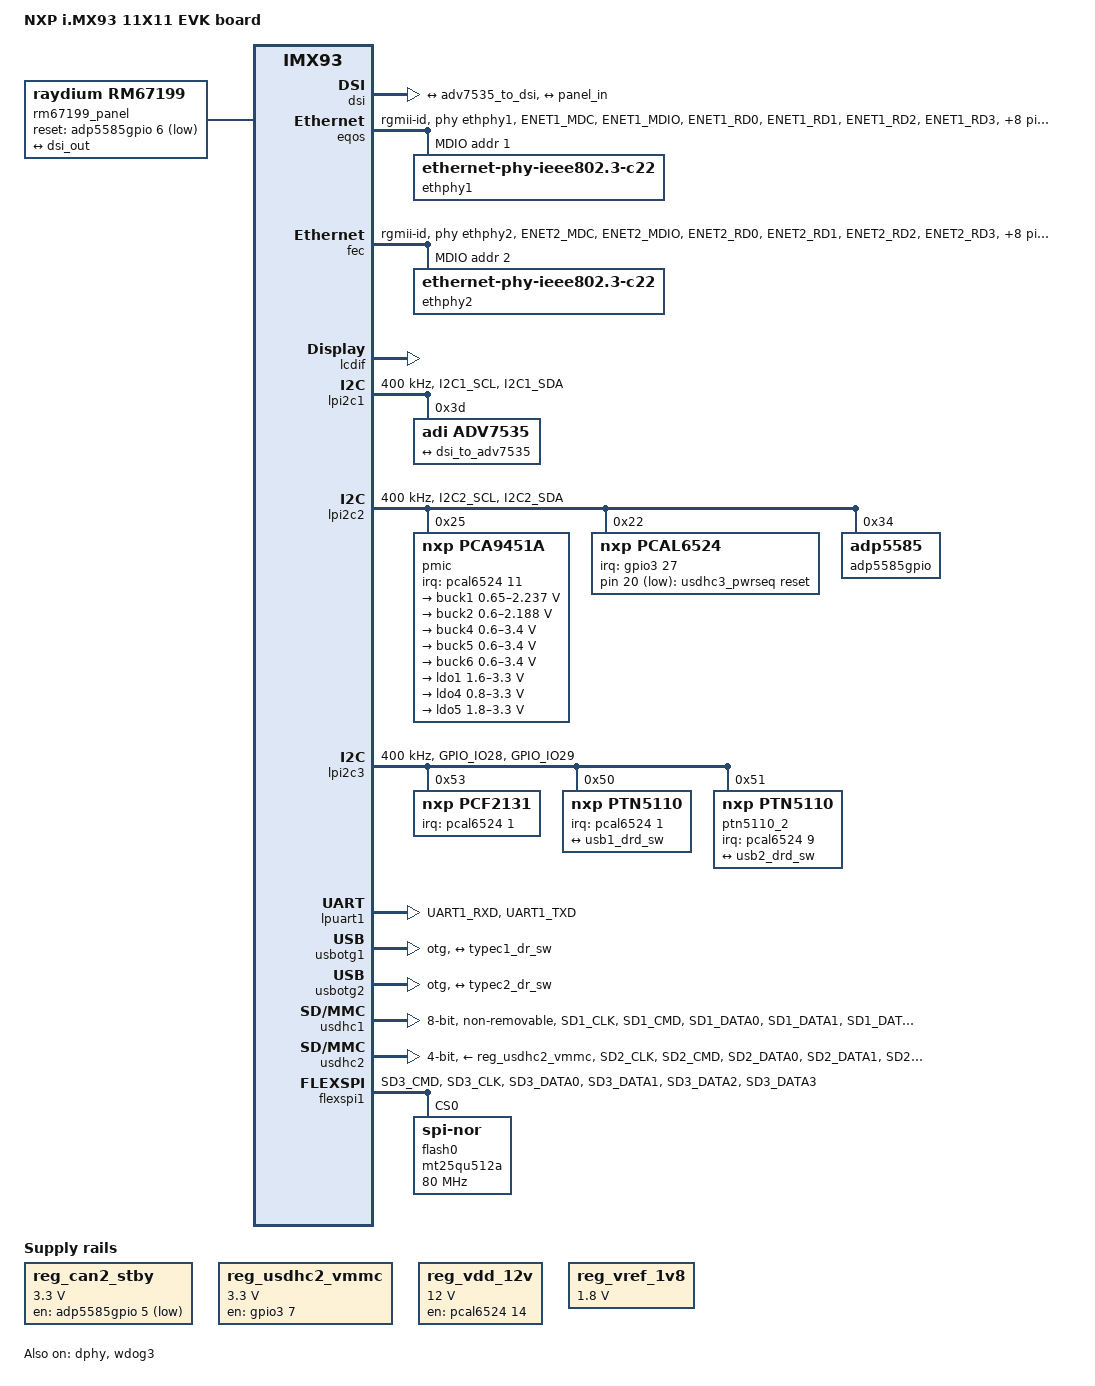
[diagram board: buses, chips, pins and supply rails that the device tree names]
// SPDX-License-Identifier: (GPL-2.0+ OR MIT)
/*
 * Copyright 2022 NXP
 */

/dts-v1/;

#include "imx93.dtsi"

/ {
	model = "NXP i.MX93 11X11 EVK board";
	compatible = "fsl,imx93-11x11-evk", "fsl,imx93";

	chosen {
		bootargs = "console=ttyLP0,115200";
		stdout-path = &lpuart1;
	};

	reserved-memory {
		#address-cells = <2>;
		#size-cells = <2>;
		ranges;

		linux,cma {
			compatible = "shared-dma-pool";
			reusable;
			alloc-ranges = <0 0x80000000 0 0x40000000>;
			size = <0 0x10000000>;
			linux,cma-default;
		};
	};

	reg_can2_stby: regulator-can2-stby {
		compatible = "regulator-fixed";
		regulator-name = "can2-stby";
		regulator-min-microvolt = <3300000>;
		regulator-max-microvolt = <3300000>;
		gpio = <&adp5585gpio 5 GPIO_ACTIVE_LOW>;
		enable-active-low;
	};

	reg_usdhc2_vmmc: regulator-usdhc2 {
		compatible = "regulator-fixed";
		pinctrl-names = "default";
		pinctrl-0 = <&pinctrl_reg_usdhc2_vmmc>;
		regulator-name = "VSD_3V3";
		regulator-min-microvolt = <3300000>;
		regulator-max-microvolt = <3300000>;
		gpio = <&gpio3 7 GPIO_ACTIVE_HIGH>;
		off-on-delay-us = <12000>;
		enable-active-high;
	};

	reg_vdd_12v: regulator-vdd-12v {
		compatible = "regulator-fixed";
		regulator-name = "reg_vdd_12v";
		regulator-min-microvolt = <12000000>;
		regulator-max-microvolt = <12000000>;
		gpio = <&pcal6524 14 GPIO_ACTIVE_HIGH>;
		enable-active-high;
	};

	reg_vref_1v8: regulator-adc-vref {
		compatible = "regulator-fixed";
		regulator-name = "vref_1v8";
		regulator-min-microvolt = <1800000>;
		regulator-max-microvolt = <1800000>;
	};

	usdhc3_pwrseq: usdhc3_pwrseq {
		compatible = "mmc-pwrseq-simple";
		reset-gpios = <&pcal6524 20 GPIO_ACTIVE_LOW>;
	};

dsi_host: dsi-host {
		compatible = "synopsys,dw-mipi-dsi";
		status = "okay";
	};

	rm67199_panel {
		compatible = "raydium,rm67199";
		reset-gpio = <&adp5585gpio 6 GPIO_ACTIVE_LOW>;
		dsi-lanes = <4>;
		video-mode = <2>;	/* 0: burst mode
					 * 1: non-burst mode with sync event
					 * 2: non-burst mode with sync pulse
					 */
		width-mm = <68>;
		height-mm = <121>;
		status = "okay";

		port {
			panel_in: endpoint {
				remote-endpoint = <&dsi_out>;
			};
		};
	};
};

&dphy {
	status = "okay";
};

&dsi {
	status = "okay";

	ports {
		port@1 {
			dsi_to_adv7535: endpoint {
				remote-endpoint = <&adv7535_to_dsi>;
			};
		};

		port@2 {
			dsi_out: endpoint {
				remote-endpoint = <&panel_in>;
			};
		};
	};
};

&eqos {
	pinctrl-names = "default";
	pinctrl-0 = <&pinctrl_eqos>;
	phy-mode = "rgmii-id";
	phy-handle = <&ethphy1>;
	status = "okay";

	mdio {
		compatible = "snps,dwmac-mdio";
		#address-cells = <1>;
		#size-cells = <0>;
		clock-frequency = <5000000>;

		ethphy1: ethernet-phy@1 {
			compatible = "ethernet-phy-ieee802.3-c22";
			reg = <1>;
			eee-broken-1000t;
		};
	};
};

&fec {
	pinctrl-names = "default";
	pinctrl-0 = <&pinctrl_fec>;
	phy-mode = "rgmii-id";
	phy-handle = <&ethphy2>;
	fsl,magic-packet;
	status = "okay";

	mdio {
		#address-cells = <1>;
		#size-cells = <0>;
		clock-frequency = <5000000>;

		ethphy2: ethernet-phy@2 {
			compatible = "ethernet-phy-ieee802.3-c22";
			reg = <2>;
			eee-broken-1000t;
		};
	};
};

&lcdif {
	status = "okay";
	assigned-clock-rates = <484000000>, <121000000>, <400000000>, <133333333>;
};

&lpi2c1 {
	#address-cells = <1>;
	#size-cells = <0>;
	clock-frequency = <400000>;
	pinctrl-names = "default", "sleep";
	pinctrl-0 = <&pinctrl_lpi2c1>;
	pinctrl-1 = <&pinctrl_lpi2c1>;
	status = "okay";

	adv7535: hdmi@3d {
		compatible = "adi,adv7535";
		reg = <0x3d>;
		adi,addr-cec = <0x3c>;
		adi,dsi-lanes = <4>;
		status = "okay";

		port {
			adv7535_to_dsi: endpoint {
				remote-endpoint = <&dsi_to_adv7535>;
			};
		};
	};
};

&lpi2c2 {
	#address-cells = <1>;
	#size-cells = <0>;
	clock-frequency = <400000>;
	pinctrl-names = "default", "sleep";
	pinctrl-0 = <&pinctrl_lpi2c2>;
	pinctrl-1 = <&pinctrl_lpi2c2>;
	status = "okay";

	pmic@25 {
		compatible = "nxp,pca9451a";
		reg = <0x25>;
		interrupt-parent = <&pcal6524>;
		interrupts = <11 IRQ_TYPE_LEVEL_LOW>;

		regulators {
			buck1: BUCK1 {
				regulator-name = "BUCK1";
				regulator-min-microvolt = <650000>;
				regulator-max-microvolt = <2237500>;
				regulator-boot-on;
				regulator-always-on;
				regulator-ramp-delay = <3125>;
			};

			buck2: BUCK2 {
				regulator-name = "BUCK2";
				regulator-min-microvolt = <600000>;
				regulator-max-microvolt = <2187500>;
				regulator-boot-on;
				regulator-always-on;
				regulator-ramp-delay = <3125>;
			};

			buck4: BUCK4{
				regulator-name = "BUCK4";
				regulator-min-microvolt = <600000>;
				regulator-max-microvolt = <3400000>;
				regulator-boot-on;
				regulator-always-on;
			};

			buck5: BUCK5{
				regulator-name = "BUCK5";
				regulator-min-microvolt = <600000>;
				regulator-max-microvolt = <3400000>;
				regulator-boot-on;
				regulator-always-on;
			};

			buck6: BUCK6 {
				regulator-name = "BUCK6";
				regulator-min-microvolt = <600000>;
				regulator-max-microvolt = <3400000>;
				regulator-boot-on;
				regulator-always-on;
			};

			ldo1: LDO1 {
				regulator-name = "LDO1";
				regulator-min-microvolt = <1600000>;
				regulator-max-microvolt = <3300000>;
				regulator-boot-on;
				regulator-always-on;
			};

			ldo4: LDO4 {
				regulator-name = "LDO4";
				regulator-min-microvolt = <800000>;
				regulator-max-microvolt = <3300000>;
				regulator-boot-on;
				regulator-always-on;
			};

			ldo5: LDO5 {
				regulator-name = "LDO5";
				regulator-min-microvolt = <1800000>;
				regulator-max-microvolt = <3300000>;
				regulator-boot-on;
				regulator-always-on;
			};
		};
	};

	pcal6524: gpio@22 {
		compatible = "nxp,pcal6524";
		pinctrl-names = "default";
		pinctrl-0 = <&pinctrl_pcal6524>;
		reg = <0x22>;
		gpio-controller;
		#gpio-cells = <2>;
		interrupt-controller;
		#interrupt-cells = <2>;
		interrupt-parent = <&gpio3>;
		interrupts = <27 IRQ_TYPE_LEVEL_LOW>;
	};

	adp5585gpio: gpio@34 {
		compatible = "adp5585";
		reg = <0x34>;
		gpio-controller;
		#gpio-cells = <2>;
	};
};

&lpi2c3 {
	#address-cells = <1>;
	#size-cells = <0>;
	clock-frequency = <400000>;
	pinctrl-names = "default", "sleep";
	pinctrl-0 = <&pinctrl_lpi2c3>;
	pinctrl-1 = <&pinctrl_lpi2c3>;
	status = "okay";

	pcf2131: rtc@53 {
		compatible = "nxp,pcf2131";
		reg = <0x53>;
		interrupt-parent = <&pcal6524>;
		interrupts = <1 IRQ_TYPE_LEVEL_LOW>;
		status = "okay";
	};

	ptn5110: tcpc@50 {
		compatible = "nxp,ptn5110";
		reg = <0x50>;
		interrupt-parent = <&pcal6524>;
		interrupts = <1 IRQ_TYPE_EDGE_FALLING>;
		status = "okay";

		port {
			typec1_dr_sw: endpoint {
				remote-endpoint = <&usb1_drd_sw>;
			};
		};

		typec1_con: connector {
			compatible = "usb-c-connector";
			label = "USB-C";
			power-role = "dual";
			data-role = "dual";
			try-power-role = "sink";
			source-pdos = <PDO_FIXED(5000, 3000, PDO_FIXED_USB_COMM)>;
			sink-pdos = <PDO_FIXED(5000, 3000, PDO_FIXED_USB_COMM)
				     PDO_VAR(5000, 20000, 3000)>;
			op-sink-microwatt = <15000000>;
			self-powered;
		};
	};

	ptn5110_2: tcpc@51 {
		compatible = "nxp,ptn5110";
		reg = <0x51>;
		interrupt-parent = <&pcal6524>;
		interrupts = <9 IRQ_TYPE_EDGE_FALLING>;
		status = "okay";

		port {
			typec2_dr_sw: endpoint {
				remote-endpoint = <&usb2_drd_sw>;
			};
		};

		typec2_con: connector {
			compatible = "usb-c-connector";
			label = "USB-C";
			power-role = "dual";
			data-role = "dual";
			try-power-role = "sink";
			source-pdos = <PDO_FIXED(5000, 3000, PDO_FIXED_USB_COMM)>;
			sink-pdos = <PDO_FIXED(5000, 3000, PDO_FIXED_USB_COMM)
				     PDO_VAR(5000, 20000, 3000)>;
			op-sink-microwatt = <15000000>;
			self-powered;
		};
	};
};

&lpuart1 { /* console */
	pinctrl-names = "default";
	pinctrl-0 = <&pinctrl_uart1>;
	status = "okay";
};

&usbotg1 {
	dr_mode = "otg";
	hnp-disable;
	srp-disable;
	adp-disable;
	usb-role-switch;
	disable-over-current;
	samsung,picophy-pre-emp-curr-control = <3>;
	samsung,picophy-dc-vol-level-adjust = <7>;
	status = "okay";

	port {
		usb1_drd_sw: endpoint {
			remote-endpoint = <&typec1_dr_sw>;
		};
	};
};

&usbotg2 {
	dr_mode = "otg";
	hnp-disable;
	srp-disable;
	adp-disable;
	usb-role-switch;
	disable-over-current;
	samsung,picophy-pre-emp-curr-control = <3>;
	samsung,picophy-dc-vol-level-adjust = <7>;
	status = "okay";

	port {
		usb2_drd_sw: endpoint {
			remote-endpoint = <&typec2_dr_sw>;
		};
	};
};

&usdhc1 {
	pinctrl-names = "default", "state_100mhz", "state_200mhz";
	pinctrl-0 = <&pinctrl_usdhc1>;
	pinctrl-1 = <&pinctrl_usdhc1>;
	pinctrl-2 = <&pinctrl_usdhc1>;
	bus-width = <8>;
	non-removable;
	status = "okay";
};

&usdhc2 {
	pinctrl-names = "default", "state_100mhz", "state_200mhz";
	pinctrl-0 = <&pinctrl_usdhc2>, <&pinctrl_usdhc2_gpio>;
	pinctrl-1 = <&pinctrl_usdhc2>, <&pinctrl_usdhc2_gpio>;
	pinctrl-2 = <&pinctrl_usdhc2>, <&pinctrl_usdhc2_gpio>;
	cd-gpios = <&gpio3 00 GPIO_ACTIVE_LOW>;
	vmmc-supply = <&reg_usdhc2_vmmc>;
	bus-width = <4>;
	status = "okay";
	no-sdio;
	no-mmc;
};

&usdhc3 {
	status = "disabled";
};



&flexspi1 {
	pinctrl-names = "default";
	pinctrl-0 = <&pinctrl_flexspi>;
	assigned-clock-rates = <80000000>;
	status = "okay";

	flash0: mt25qu512a@0 {
		reg = <0>;
		#address-cells = <1>;
		#size-cells = <1>;
		compatible = "jedec,spi-nor";
		spi-max-frequency = <80000000>;
		spi-tx-bus-width = <4>;
		spi-rx-bus-width = <4>;
	};
};

&iomuxc {
	pinctrl_flexcan2: flexcan2grp {
		fsl,pins = <
			MX93_PAD_GPIO_IO25__CAN2_TX	0x139e
			MX93_PAD_GPIO_IO27__CAN2_RX	0x139e
		>;
	};

	pinctrl_lpi2c1: lpi2c1grp {
		fsl,pins = <
			MX93_PAD_I2C1_SCL__LPI2C1_SCL			0x40000b9e
			MX93_PAD_I2C1_SDA__LPI2C1_SDA			0x40000b9e
		>;
	};

	pinctrl_lpi2c2: lpi2c2grp {
		fsl,pins = <
			MX93_PAD_I2C2_SCL__LPI2C2_SCL			0x40000b9e
			MX93_PAD_I2C2_SDA__LPI2C2_SDA			0x40000b9e
		>;
	};

	pinctrl_pcal6524: pcal6524grp {
		fsl,pins = <
			MX93_PAD_CCM_CLKO2__GPIO3_IO27			0x31e
		>;
	};

	pinctrl_eqos: eqosgrp {
		fsl,pins = <
			MX93_PAD_ENET1_MDC__ENET_QOS_MDC			0x57e
			MX93_PAD_ENET1_MDIO__ENET_QOS_MDIO			0x57e
			MX93_PAD_ENET1_RD0__ENET_QOS_RGMII_RD0			0x57e
			MX93_PAD_ENET1_RD1__ENET_QOS_RGMII_RD1			0x57e
			MX93_PAD_ENET1_RD2__ENET_QOS_RGMII_RD2			0x57e
			MX93_PAD_ENET1_RD3__ENET_QOS_RGMII_RD3			0x57e
			MX93_PAD_ENET1_RXC__CCM_ENET_QOS_CLOCK_GENERATE_RX_CLK	0x5fe
			MX93_PAD_ENET1_RX_CTL__ENET_QOS_RGMII_RX_CTL		0x57e
			MX93_PAD_ENET1_TD0__ENET_QOS_RGMII_TD0			0x57e
			MX93_PAD_ENET1_TD1__ENET_QOS_RGMII_TD1			0x57e
			MX93_PAD_ENET1_TD2__ENET_QOS_RGMII_TD2			0x57e
			MX93_PAD_ENET1_TD3__ENET_QOS_RGMII_TD3			0x57e
			MX93_PAD_ENET1_TXC__CCM_ENET_QOS_CLOCK_GENERATE_TX_CLK	0x5fe
			MX93_PAD_ENET1_TX_CTL__ENET_QOS_RGMII_TX_CTL		0x57e
		>;
	};

	pinctrl_flexspi: flexspigrp {
		fsl,pins = <
			MX93_PAD_SD3_CMD__FLEXSPI1_A_SS0_B      0x42
			MX93_PAD_SD3_CLK__FLEXSPI1_A_SCLK       0x42
			MX93_PAD_SD3_DATA0__FLEXSPI1_A_DATA00   0x42
			MX93_PAD_SD3_DATA1__FLEXSPI1_A_DATA01   0x42
			MX93_PAD_SD3_DATA2__FLEXSPI1_A_DATA02   0x42
			MX93_PAD_SD3_DATA3__FLEXSPI1_A_DATA03   0x42
		>;
	};

	pinctrl_lpi2c3: lpi2c3grp {
		fsl,pins = <
			MX93_PAD_GPIO_IO28__LPI2C3_SDA			0x40000b9e
			MX93_PAD_GPIO_IO29__LPI2C3_SCL			0x40000b9e
		>;
	};

	pinctrl_fec: fecgrp {
		fsl,pins = <
			MX93_PAD_ENET2_MDC__ENET1_MDC			0x57e
			MX93_PAD_ENET2_MDIO__ENET1_MDIO			0x57e
			MX93_PAD_ENET2_RD0__ENET1_RGMII_RD0		0x57e
			MX93_PAD_ENET2_RD1__ENET1_RGMII_RD1		0x57e
			MX93_PAD_ENET2_RD2__ENET1_RGMII_RD2		0x57e
			MX93_PAD_ENET2_RD3__ENET1_RGMII_RD3		0x57e
			MX93_PAD_ENET2_RXC__ENET1_RGMII_RXC		0x5fe
			MX93_PAD_ENET2_RX_CTL__ENET1_RGMII_RX_CTL	0x57e
			MX93_PAD_ENET2_TD0__ENET1_RGMII_TD0		0x57e
			MX93_PAD_ENET2_TD1__ENET1_RGMII_TD1		0x57e
			MX93_PAD_ENET2_TD2__ENET1_RGMII_TD2		0x57e
			MX93_PAD_ENET2_TD3__ENET1_RGMII_TD3		0x57e
			MX93_PAD_ENET2_TXC__ENET1_RGMII_TXC		0x5fe
			MX93_PAD_ENET2_TX_CTL__ENET1_RGMII_TX_CTL	0x57e
		>;
	};

	pinctrl_uart1: uart1grp {
		fsl,pins = <
			MX93_PAD_UART1_RXD__LPUART1_RX			0x31e
			MX93_PAD_UART1_TXD__LPUART1_TX			0x31e
		>;
	};

	pinctrl_usdhc1: usdhc1grp {
		fsl,pins = <
			MX93_PAD_SD1_CLK__USDHC1_CLK		0x15fe
			MX93_PAD_SD1_CMD__USDHC1_CMD		0x13fe
			MX93_PAD_SD1_DATA0__USDHC1_DATA0	0x13fe
			MX93_PAD_SD1_DATA1__USDHC1_DATA1	0x13fe
			MX93_PAD_SD1_DATA2__USDHC1_DATA2	0x13fe
			MX93_PAD_SD1_DATA3__USDHC1_DATA3	0x13fe
			MX93_PAD_SD1_DATA4__USDHC1_DATA4	0x13fe
			MX93_PAD_SD1_DATA5__USDHC1_DATA5	0x13fe
			MX93_PAD_SD1_DATA6__USDHC1_DATA6	0x13fe
			MX93_PAD_SD1_DATA7__USDHC1_DATA7	0x13fe
			MX93_PAD_SD1_STROBE__USDHC1_STROBE	0x15fe
		>;
	};

	pinctrl_reg_usdhc2_vmmc: regusdhc2vmmcgrp {
		fsl,pins = <
			MX93_PAD_SD2_RESET_B__GPIO3_IO07	0x31e
		>;
	};

	pinctrl_usdhc2_gpio: usdhc2gpiogrp {
		fsl,pins = <
			MX93_PAD_SD2_CD_B__GPIO3_IO00		0x31e
		>;
	};

	pinctrl_usdhc2: usdhc2grp {
		fsl,pins = <
			MX93_PAD_SD2_CLK__USDHC2_CLK		0x15fe
			MX93_PAD_SD2_CMD__USDHC2_CMD		0x13fe
			MX93_PAD_SD2_DATA0__USDHC2_DATA0	0x13fe
			MX93_PAD_SD2_DATA1__USDHC2_DATA1	0x13fe
			MX93_PAD_SD2_DATA2__USDHC2_DATA2	0x13fe
			MX93_PAD_SD2_DATA3__USDHC2_DATA3	0x13fe
			MX93_PAD_SD2_VSELECT__USDHC2_VSELECT	0x51e
		>;
	};
};

&wdog3 {
	status = "okay";
};
